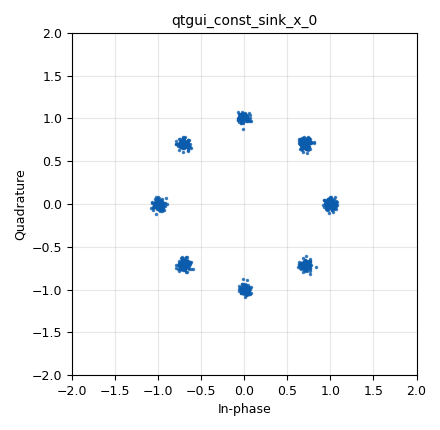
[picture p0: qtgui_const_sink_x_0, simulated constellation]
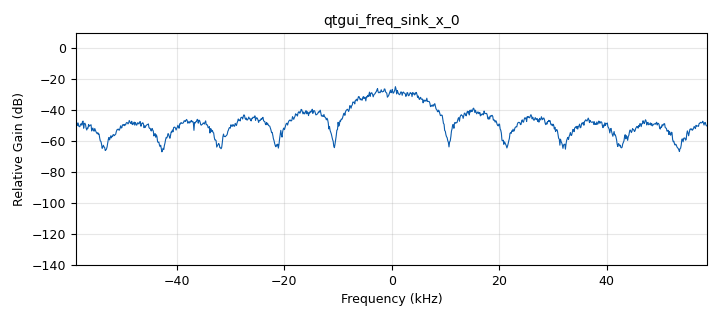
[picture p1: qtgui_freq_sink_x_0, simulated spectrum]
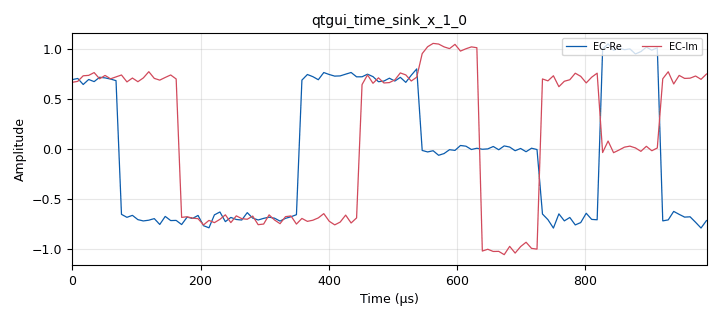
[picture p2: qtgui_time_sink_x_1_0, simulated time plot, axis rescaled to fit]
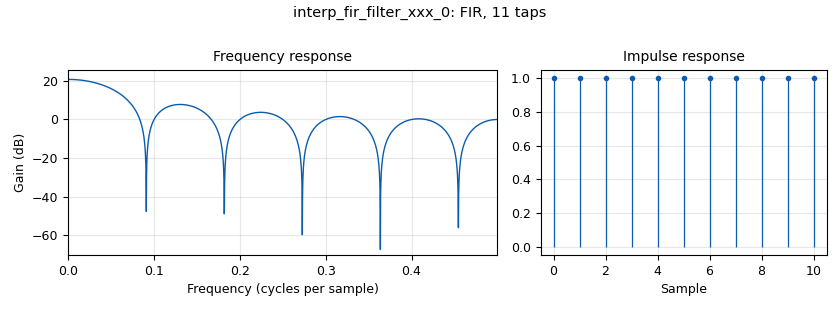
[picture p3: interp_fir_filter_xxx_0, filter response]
options:
  parameters:
    generate_options: qt_gui
    id: Prueba
    output_language: python
    title: Not titled yet
  states: {}

blocks:
- name: M
  id: variable
  parameters:
    value: '8'
  states: {}
- name: Nbps
  id: variable
  parameters:
    value: int(math.log(M,2))
  states: {}
- name: Rb
  id: variable
  parameters:
    value: '32000'
  states: {}
- name: Rs
  id: variable
  parameters:
    value: Rb/Nbps
  states: {}
- name: Sps
  id: variable
  parameters:
    value: len(h)
  states: {}
- name: Sps_0
  id: variable
  parameters:
    value: len(h)
  states: {}
- name: h
  id: variable
  parameters:
    value: (1.,1.,1.,1.,1.,1.,1.,1.,1.,1.,1.)
  states: {}
- name: samp_rate
  id: variable
  parameters:
    value: Rs*Sps
  states: {}
- name: analog_const_source_x_0
  id: analog_const_source_x
  parameters:
    const: '1.'
    type: float
  states: {}
- name: analog_noise_source_x_0
  id: analog_noise_source_x
  parameters:
    amp: '50e-3'
    noise_type: analog.GR_GAUSSIAN
    seed: '0'
    type: complex
  states: {}
- name: analog_random_source_x_0
  id: analog_random_source_x
  parameters:
    max: '2'
    min: '0'
    num_samps: '1000'
    repeat: 'True'
    type: byte
  states: {}
- name: blocks_add_xx_0
  id: blocks_add_xx
  parameters:
    type: complex
  states: {}
- name: blocks_char_to_float_0
  id: blocks_char_to_float
  parameters:
    scale: '1'
  states: {state: disabled}
- name: blocks_char_to_float_0_0
  id: blocks_char_to_float
  parameters:
    scale: '1'
  states: {state: disabled}
- name: blocks_char_to_float_0_1
  id: blocks_char_to_float
  parameters:
    scale: '1'
  states: {}
- name: blocks_multiply_const_vxx_0
  id: blocks_multiply_const_vxx
  parameters:
    const: 2*math.pi/M
    type: float
  states: {}
- name: blocks_repack_bits_bb_0
  id: blocks_repack_bits_bb
  parameters:
    endianness: gr.GR_LSB_FIRST
    k: '1'
    l: Nbps
  states: {}
- name: epy_block_0
  id: epy_block
  parameters:
    _source_code: |
      import numpy as np
      from gnuradio import gr

      class blk(gr.sync_block):
          """
          Es un VCO de dos entradas:
          Q: para manipular la fase en radianes,
          A: para manipular la amplitud.
          """

          def __init__(self):
              gr.sync_block.__init__(self,
                  name='e_VCO_fase_fc',
                  in_sig=[np.float32, np.float32],
                  out_sig=[np.complex64]
              )

          def work(self, input_items, output_items):
              Q = input_items[0]
              A = input_items[1]
              Sec = output_items[0]
              Sec[:] = A * np.exp(1.j * Q)
              return len(Sec)
  states: {}
- name: import_0
  id: import
  parameters:
    imports: import math
  states: {}
- name: interp_fir_filter_xxx_0
  id: interp_fir_filter_xxx
  parameters:
    interp: Sps
    taps: h
    type: ccc
  states: {}
- name: qtgui_const_sink_x_0
  id: qtgui_const_sink_x
  parameters:
    size: '1024'
    type: complex
  states: {}
- name: qtgui_freq_sink_x_0
  id: qtgui_freq_sink_x
  parameters:
    average: '0.05'
    bw: samp_rate
    fc: '0'
    fftsize: '1024'
    type: complex
  states: {}
- name: qtgui_time_sink_x_0
  id: qtgui_time_sink_x
  parameters:
    label1: Binary
    marker1: '0'
    size: '32'
    srate: samp_rate
    stemplot: 'True'
    type: float
    width1: '3'
  states: {state: disabled}
- name: qtgui_time_sink_x_0_0
  id: qtgui_time_sink_x
  parameters:
    label1: M-PAM
    marker1: '0'
    size: int(32/Nbps)
    srate: samp_rate
    stemplot: 'True'
    type: float
    width1: '3'
  states: {state: disabled}
- name: qtgui_time_sink_x_0_0_0
  id: qtgui_time_sink_x
  parameters:
    label1: M-PAM Mod
    marker1: '0'
    size: int(32/Nbps)
    srate: samp_rate
    stemplot: 'True'
    type: float
    width1: '3'
  states: {state: disabled}
- name: qtgui_time_sink_x_1
  id: qtgui_time_sink_x
  parameters:
    label1: EC-Re
    label2: EC-Im
    marker1: '0'
    marker2: '0'
    size: int(32/Nbps)
    srate: Rs
    stemplot: 'True'
    type: complex
    width1: '3'
    width2: '3'
  states: {state: disabled}
- name: qtgui_time_sink_x_1_0
  id: qtgui_time_sink_x
  parameters:
    label1: EC-Re
    label2: EC-Im
    size: int(32*Sps/Nbps)
    srate: samp_rate
    type: complex
    width1: '3'
    width2: '3'
  states: {}

connections:
- [analog_const_source_x_0, '0', epy_block_0, '1']
- [analog_noise_source_x_0, '0', blocks_add_xx_0, '1']
- [analog_random_source_x_0, '0', blocks_char_to_float_0_0, '0']
- [analog_random_source_x_0, '0', blocks_repack_bits_bb_0, '0']
- [blocks_add_xx_0, '0', qtgui_const_sink_x_0, '0']
- [blocks_add_xx_0, '0', qtgui_freq_sink_x_0, '0']
- [blocks_add_xx_0, '0', qtgui_time_sink_x_1_0, '0']
- [blocks_char_to_float_0, '0', qtgui_time_sink_x_0_0, '0']
- [blocks_char_to_float_0_0, '0', qtgui_time_sink_x_0, '0']
- [blocks_char_to_float_0_1, '0', blocks_multiply_const_vxx_0, '0']
- [blocks_multiply_const_vxx_0, '0', epy_block_0, '0']
- [blocks_multiply_const_vxx_0, '0', qtgui_time_sink_x_0_0_0, '0']
- [blocks_repack_bits_bb_0, '0', blocks_char_to_float_0, '0']
- [blocks_repack_bits_bb_0, '0', blocks_char_to_float_0_1, '0']
- [epy_block_0, '0', interp_fir_filter_xxx_0, '0']
- [epy_block_0, '0', qtgui_time_sink_x_1, '0']
- [interp_fir_filter_xxx_0, '0', blocks_add_xx_0, '0']

metadata:
  file_format: 1
  grc_version: v3.10.11.0-89-ga17f69e7
